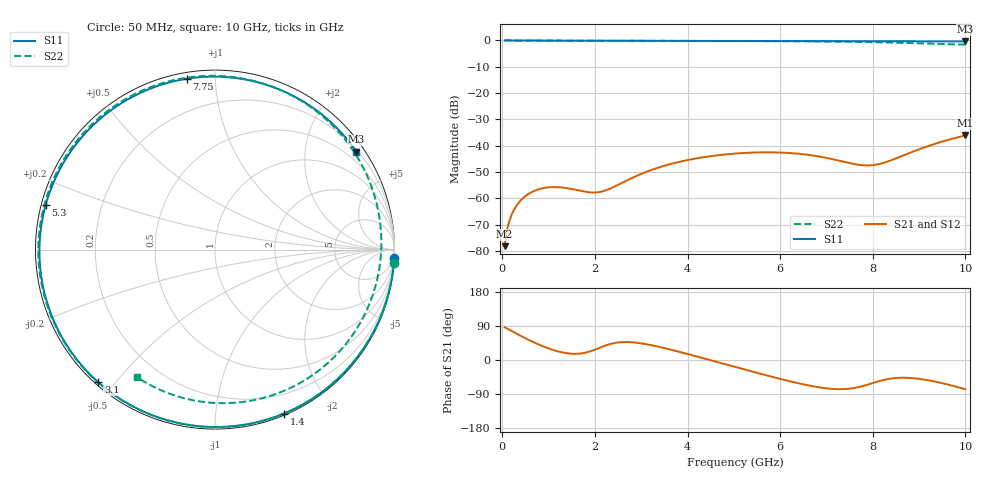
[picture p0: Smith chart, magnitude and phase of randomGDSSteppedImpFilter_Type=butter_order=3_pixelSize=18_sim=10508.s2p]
! freq	dB(S11)	phase(S11)	dB(S12)	phase(S12)
!  dB(S21)	phase(S21)	dB(S22)	phase(S22)
!S-par simulation data
#  GHz  S  DB  R 50
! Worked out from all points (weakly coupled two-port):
!   200 points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, 50 MHz to 10 GHz, reference 50 ohm
!   highest |S21| = -36.12 dB at 10 GHz (marker M1); lowest = -78.2 dB at 50 MHz (marker M2)
!   lowest |S11| = -0.4 dB at 10 GHz (marker M3), VSWR 46.36, Z = 12.1 + j159 ohm
!   |S11| at or under -10 dB: nowhere
!   |S22| runs from -1.6 to 0.0 dB; largest |S21 - S12| = 0
!   S11 on the Smith chart (normalised r, x): 50 MHz: 0, -45; 1.4 GHz: 0.02, -1.51; 3.1 GHz: 0.01, -0.45; 5.3 GHz: 0.01, +0.13; 7.75 GHz: 0.03, +0.85; 10 GHz: 0.24, +3.19
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0.05  -0.00 -2.6  -78.23 86.6  -78.23 86.6  -0.00 -4.3
0.1  -0.01 -5.1  -72.24 83.3  -72.24 83.3  -0.01 -8.6
0.2  -0.01 -10.1  -66.34 76.6  -66.34 76.6  -0.03 -17.0
0.45  -0.03 -22.6  -59.91 60.4  -59.91 60.4  -0.06 -37.6
0.9  -0.06 -44.4  -56.10 35.1  -56.10 35.1  -0.08 -71.2
1.4  -0.08 -67.2  -56.18 17.8  -56.18 17.8  -0.10 -102.6
1.75  -0.09 -82.0  -57.39 18.2  -57.39 18.2  -0.11 -121.0
2.4  -0.12 -107.2  -55.78 44.2  -55.78 44.2  -0.12 -149.7
3.1  -0.14 -131.3  -50.04 41.9  -50.04 41.9  -0.13 -175.4
3.4  -0.14 -140.8  -48.18 34.3  -48.18 34.3  -0.14 174.6
4.2  -0.17 -164.5  -44.82 9.3  -44.82 9.3  -0.17 149.0
5.05  -0.20 172.0  -42.98 -19.0  -42.98 -19.0  -0.21 121.9
5.3  -0.21 165.3  -42.71 -27.3  -42.71 -27.3  -0.23 113.6
6.05  -0.25 145.4  -42.66 -51.4  -42.66 -51.4  -0.29 87.4
6.7  -0.27 128.1  -43.73 -69.2  -43.73 -69.2  -0.36 62.0
7.2  -0.29 114.6  -45.42 -76.8  -45.42 -76.8  -0.45 40.3
7.75  -0.31 99.4  -47.41 -69.9  -47.41 -69.9  -0.58 13.8
8.35  -0.33 82.5  -45.86 -49.7  -45.86 -49.7  -0.79 -18.5
8.75  -0.34 71.1  -43.09 -47.0  -43.09 -47.0  -0.97 -41.8
9.25  -0.35 56.6  -39.84 -54.7  -39.84 -54.7  -1.22 -72.7
9.6  -0.36 46.4  -37.94 -64.1  -37.94 -64.1  -1.40 -95.2
10  -0.37 34.7  -36.12 -77.1  -36.12 -77.1  -1.59 -121.3
